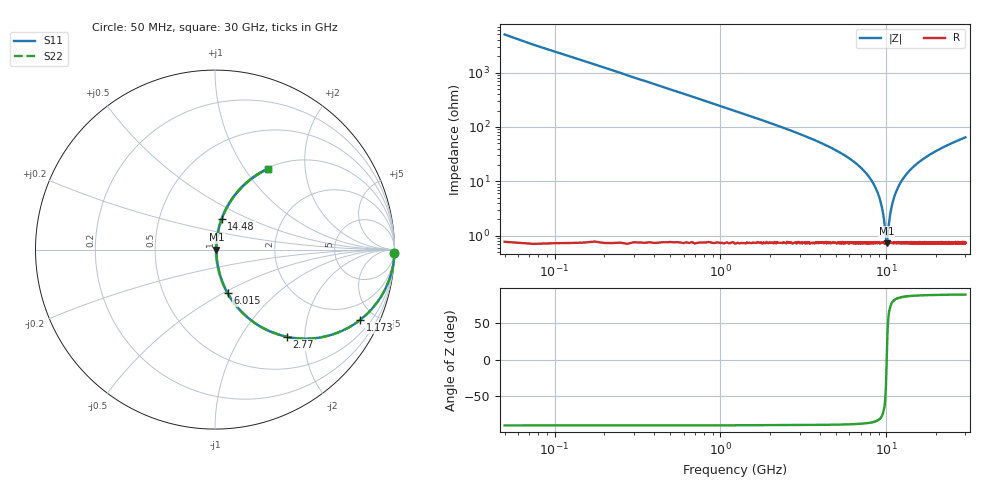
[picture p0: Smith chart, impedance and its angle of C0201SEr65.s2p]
!	AVX Thin Film Operation 	Date: April 2014
!	Description: Accu-P® Series, Thin Film  SMD RF Capacitor
!	Part Number: 02015JR65PBSTR
# MHZ S MA R 50
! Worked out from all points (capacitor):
!   1201 points, 50 MHz to 30 GHz, reference 50 ohm
!   read as one part in series: C = 648 fF near 199.8 MHz
!   lowest |Z| = 724 mohm at 10.06 GHz (marker M1)
!   series resonance near 10.06 GHz, so ESL is about 390 pH
!   S11 on the Smith chart (normalised r, x): 50 MHz: -0, -98; 1.173 GHz: 1.02, -4.12; 2.77 GHz: 1.01, -1.63; 6.015 GHz: 1.02, -0.52; 14.48 GHz: 1.01, +0.36; 30 GHz: 1.01, +1.29
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50  1 -1.2  0.02 88.8  0.02 88.8  1 -1.2
249.667  0.995 -5.8  0.101 84.1  0.101 84.1  0.995 -5.8
424.375  0.985 -9.8  0.171 80.1  0.171 80.1  0.985 -9.8
748.833  0.955 -17.1  0.294 72.8  0.294 72.8  0.955 -17.1
1173.125  0.898 -25.9  0.436 63.9  0.436 63.9  0.898 -25.9
1896.917  0.777 -38.6  0.624 51.0  0.624 51.0  0.777 -38.6
2770.458  0.63 -50.4  0.771 39.0  0.771 39.0  0.63 -50.4
5041.667  0.34 -69.0  0.934 19.9  0.934 19.9  0.34 -69.0
6015.042  0.251 -73.8  0.961 14.6  0.961 14.6  0.251 -73.8
7637.333  0.134 -79.2  0.984 7.7  0.984 7.7  0.134 -79.2
8785.417  0.066 -79.8  0.99 3.8  0.99 3.8  0.066 -79.8
9434.333  0.032 -74.9  0.992 1.8  0.992 1.8  0.032 -74.9
9933.5  0.009598 -39.5  0.993 0.4  0.993 0.4  0.009598 -39.5
10058.29  0.007367 -0.9  0.993 0.0  0.993 0.0  0.007367 -0.9
10707.21  0.031 74.5  0.992 -1.7  0.992 -1.7  0.031 74.5
11331.17  0.058 79.4  0.991 -3.3  0.991 -3.3  0.058 79.4
12479.25  0.105 80.0  0.987 -6.0  0.987 -6.0  0.105 80.0
14475.92  0.177 77.5  0.977 -10.2  0.977 -10.2  0.177 77.5
15025  0.195 76.6  0.974 -11.3  0.974 -11.3  0.195 76.6
20016.67  0.338 69.1  0.934 -19.8  0.934 -19.8  0.338 69.1
25033.29  0.45 62.4  0.886 -26.7  0.886 -26.7  0.45 62.4
30000  0.539 56.7  0.836 -32.6  0.836 -32.6  0.539 56.7
